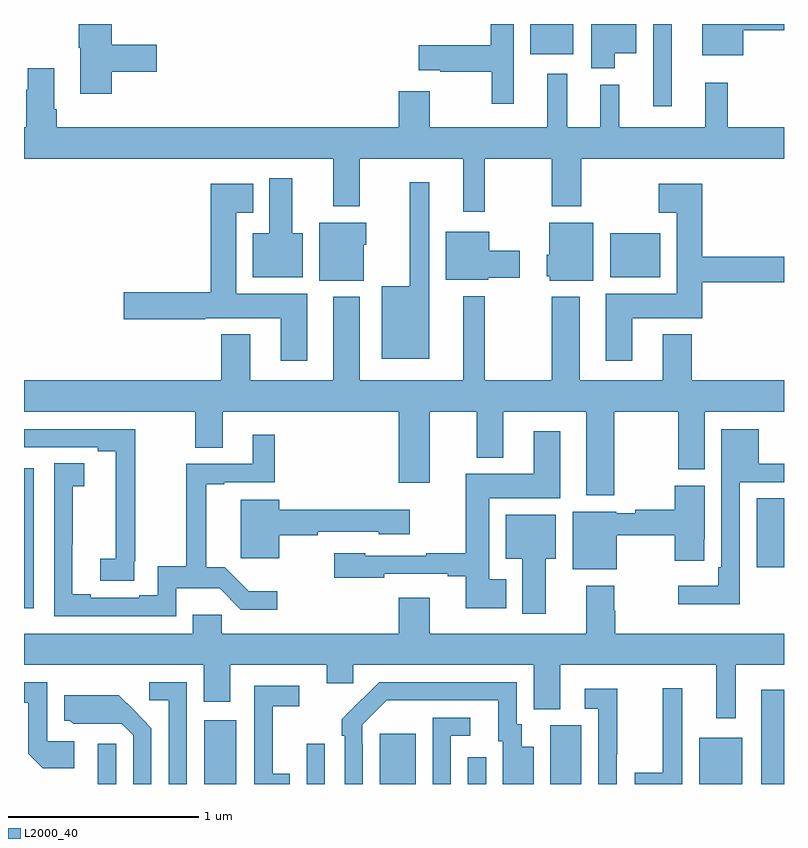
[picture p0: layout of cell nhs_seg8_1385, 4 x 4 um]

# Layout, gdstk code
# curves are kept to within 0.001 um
import gdstk
lib = gdstk.Library(unit=1e-6, precision=1e-09)
def R(c, l, rs):  # rectangles x0, y0, x1, y1
    for r in rs: c.add(gdstk.rectangle(r[:2], r[2:], *l))
def P(c, l, *ps):  # polygons
    for p in ps: c.add(gdstk.Polygon(p, *l))
L2000_40 = (2000, 40)

nhs_seg8_1385 = lib.new_cell('nhs_seg8_1385')
R(nhs_seg8_1385, L2000_40, [(199.389,1087.9,199.485,1088.113), (199.949,1087.9,200.116,1088.236), (200.487,1087.9,200.583,1088.113), (200.873,1087.9,201.061,1088.164), (201.336,1087.9,201.432,1088.041), (201.77,1087.9,201.934,1088.208), (202.553,1087.9,202.78,1088.143), (202.88,1087.9,203,1088.395), (199,1088.825,199.051,1089.562), (202.856,1089.042,203,1089.404), (202.085,1090.568,202.348,1090.798), (202.311,1091.466,202.408,1091.9), (201.665,1091.741,201.892,1091.9)])
P(nhs_seg8_1385, L2000_40, [(202.786,1091.867),(203,1091.867),(203,1091.9),(202.571,1091.9),(202.571,1091.735),(202.786,1091.735)],
  [(199.463,1091.65),(199.699,1091.65),(199.699,1091.792),(199.463,1091.792),(199.463,1091.9),(199.288,1091.9),(199.288,1091.775),(199.295,1091.775),(199.295,1091.532),(199.463,1091.532)],
  [(202.108,1091.747),(202.222,1091.747),(202.222,1091.9),(201.986,1091.9),(201.986,1091.666),(202.108,1091.666)],
  [(201.577,1091.9),(201.456,1091.9),(201.456,1091.787),(201.078,1091.787),(201.078,1091.657),(201.19,1091.657),(201.19,1091.65),(201.463,1091.65),(201.463,1091.481),(201.577,1091.481)],
  [(199.159,1091.452),(199.159,1091.668),(199.019,1091.668),(199.019,1091.555),(199.012,1091.555),(199.012,1091.356),(199,1091.356),(199,1091.192),(200.627,1091.192),(200.627,1090.94),(200.767,1090.94),(200.767,1091.192),(201.311,1091.192),(201.311,1090.911),(201.425,1090.911),(201.425,1091.192),(201.778,1091.192),(201.778,1090.94),(201.933,1090.94),(201.933,1091.192),(203,1091.192),(203,1091.356),(202.703,1091.356),(202.703,1091.59),(202.586,1091.59),(202.586,1091.356),(202.133,1091.356),(202.133,1091.581),(202.034,1091.581),(202.034,1091.356),(201.859,1091.356),(201.859,1091.638),(201.755,1091.638),(201.755,1091.356),(201.136,1091.356),(201.136,1091.545),(200.972,1091.545),(200.972,1091.356),(199.172,1091.356),(199.172,1091.452)],
  [(200.467,1090.798),(200.413,1090.798),(200.413,1091.089),(200.291,1091.089),(200.291,1090.798),(200.204,1090.798),(200.204,1090.568),(200.467,1090.568)],
  [(201.133,1091.068),(201.029,1091.068),(201.029,1090.519),(200.882,1090.519),(200.882,1090.139),(201.133,1090.139)],
  [(200.491,1090.48),(200.116,1090.48),(200.116,1090.907),(200.206,1090.907),(200.206,1091.059),(199.982,1091.059),(199.982,1090.487),(199.524,1090.487),(199.524,1090.345),(199.955,1090.345),(199.955,1090.352),(200.351,1090.352),(200.351,1090.128),(200.491,1090.128)],
  [(202.201,1090.352),(202.571,1090.352),(202.571,1090.54),(203,1090.54),(203,1090.676),(202.571,1090.676),(202.571,1091.059),(202.341,1091.059),(202.341,1090.907),(202.436,1090.907),(202.436,1090.48),(202.061,1090.48),(202.061,1090.128),(202.201,1090.128)],
  [(200.788,1090.737),(200.8,1090.737),(200.8,1090.855),(200.555,1090.855),(200.555,1090.55),(200.788,1090.55)],
  [(201.997,1090.855),(201.764,1090.855),(201.764,1090.686),(201.752,1090.686),(201.752,1090.572),(201.768,1090.572),(201.768,1090.55),(201.997,1090.55)],
  [(201.444,1090.565),(201.61,1090.565),(201.61,1090.707),(201.448,1090.707),(201.448,1090.807),(201.221,1090.807),(201.221,1090.553),(201.444,1090.553)],
  [(202.107,1089.86),(202.444,1089.86),(202.444,1089.556),(202.582,1089.556),(202.582,1089.86),(203,1089.86),(203,1090.024),(202.514,1090.024),(202.514,1090.267),(202.361,1090.267),(202.361,1090.024),(201.925,1090.024),(201.925,1090.465),(201.778,1090.465),(201.778,1090.024),(201.425,1090.024),(201.425,1090.468),(201.311,1090.468),(201.311,1090.024),(200.767,1090.024),(200.767,1090.465),(200.627,1090.465),(200.627,1090.024),(200.191,1090.024),(200.191,1090.267),(200.039,1090.267),(200.039,1090.024),(199,1090.024),(199,1089.86),(199.9,1089.86),(199.9,1089.67),(200.047,1089.67),(200.047,1089.86),(200.972,1089.86),(200.972,1089.486),(201.136,1089.486),(201.136,1089.86),(201.383,1089.86),(201.383,1089.617),(201.523,1089.617),(201.523,1089.86),(201.959,1089.86),(201.959,1089.419),(202.107,1089.419)],
  [(199.58,1089.073),(199.586,1089.073),(199.586,1089.768),(199,1089.768),(199,1089.672),(199.388,1089.672),(199.388,1089.652),(199.484,1089.652),(199.484,1089.369),(199.483,1089.369),(199.483,1089.086),(199.401,1089.086),(199.401,1088.971),(199.58,1088.971)],
  [(202.767,1089.489),(203,1089.489),(203,1089.585),(202.867,1089.585),(202.867,1089.766),(202.671,1089.766),(202.671,1089.04),(202.655,1089.04),(202.655,1088.944),(202.443,1088.944),(202.443,1088.846),(202.767,1088.846)],
  [(201.538,1088.977),(201.448,1088.977),(201.448,1089.404),(201.823,1089.404),(201.823,1089.757),(201.683,1089.757),(201.683,1089.532),(201.326,1089.532),(201.326,1089.115),(201.118,1089.115),(201.118,1089.102),(200.796,1089.102),(200.796,1089.115),(200.634,1089.115),(200.634,1088.986),(200.896,1088.986),(200.896,1089.006),(201.23,1089.006),(201.23,1088.994),(201.326,1088.994),(201.326,1088.825),(201.538,1088.825)],
  [(199.8,1088.93),(200.029,1088.93),(200.142,1088.817),(200.332,1088.817),(200.332,1088.914),(200.183,1088.914),(200.057,1089.04),(199.958,1089.04),(199.958,1089.477),(200.053,1089.477),(200.053,1089.489),(200.321,1089.489),(200.321,1089.739),(200.204,1089.739),(200.204,1089.585),(199.855,1089.585),(199.855,1089.047),(199.704,1089.047),(199.704,1088.894),(199.607,1088.894),(199.607,1088.88),(199.351,1088.88),(199.351,1088.9),(199.255,1088.9),(199.255,1089.163),(199.257,1089.163),(199.257,1089.467),(199.318,1089.467),(199.318,1089.587),(199.158,1089.587),(199.158,1088.784),(199.8,1088.784)],
  [(202.12,1089.208),(202.426,1089.208),(202.426,1089.075),(202.581,1089.075),(202.581,1089.187),(202.582,1089.187),(202.582,1089.471),(202.426,1089.471),(202.426,1089.344),(202.216,1089.344),(202.216,1089.324),(202.116,1089.324),(202.116,1089.334),(201.887,1089.334),(201.887,1089.029),(202.12,1089.029)],
  [(200.344,1089.208),(200.546,1089.208),(200.546,1089.228),(200.868,1089.228),(200.868,1089.215),(201.031,1089.215),(201.031,1089.344),(200.344,1089.344),(200.344,1089.397),(200.141,1089.397),(200.141,1089.087),(200.344,1089.087)],
  [(201.745,1089.086),(201.799,1089.086),(201.799,1089.316),(201.536,1089.316),(201.536,1089.086),(201.623,1089.086),(201.623,1088.796),(201.745,1088.796)],
  [(202.747,1088.528),(203,1088.528),(203,1088.692),(202.112,1088.692),(202.112,1088.813),(202.107,1088.813),(202.107,1088.944),(201.959,1088.944),(201.959,1088.692),(201.136,1088.692),(201.136,1088.881),(200.972,1088.881),(200.972,1088.692),(200.041,1088.692),(200.041,1088.79),(199.889,1088.79),(199.889,1088.692),(199,1088.692),(199,1088.528),(199.946,1088.528),(199.946,1088.334),(200.086,1088.334),(200.086,1088.528),(200.594,1088.528),(200.594,1088.43),(200.733,1088.43),(200.733,1088.528),(201.683,1088.528),(201.683,1088.293),(201.823,1088.293),(201.823,1088.528),(202.643,1088.528),(202.643,1088.247),(202.747,1088.247)],
  [(200.784,1088.111),(200.781,1088.111),(200.781,1088.211),(200.91,1088.34),(201.497,1088.34),(201.497,1088.124),(201.521,1088.124),(201.521,1087.9),(201.682,1087.9),(201.682,1088.095),(201.619,1088.095),(201.619,1088.214),(201.594,1088.214),(201.594,1088.436),(200.87,1088.436),(200.673,1088.241),(200.673,1088.153),(200.688,1088.153),(200.688,1087.9),(200.784,1087.9)],
  [(199.857,1088.436),(199.659,1088.436),(199.659,1088.34),(199.761,1088.34),(199.761,1087.9),(199.857,1087.9)],
  [(199.264,1088.124),(199.122,1088.124),(199.122,1088.436),(199,1088.436),(199,1088.328),(199.023,1088.328),(199.023,1088.06),(199.099,1087.984),(199.264,1087.984)],
  [(200.398,1087.954),(200.309,1087.954),(200.309,1088.31),(200.449,1088.31),(200.449,1088.418),(200.211,1088.418),(200.211,1087.9),(200.398,1087.9)],
  [(202.465,1088.404),(202.361,1088.404),(202.361,1087.96),(202.214,1087.96),(202.214,1087.9),(202.465,1087.9)],
  [(202.119,1088.056),(202.122,1088.056),(202.122,1088.401),(201.951,1088.401),(201.951,1088.295),(202.023,1088.295),(202.023,1087.9),(202.119,1087.9)],
  [(199.671,1088.194),(199.499,1088.368),(199.211,1088.368),(199.211,1088.232),(199.242,1088.232),(199.258,1088.216),(199.515,1088.217),(199.575,1088.157),(199.575,1087.9),(199.671,1087.9)],
  [(201.246,1088.154),(201.349,1088.154),(201.349,1088.25),(201.15,1088.25),(201.15,1087.9),(201.246,1087.9)])

lib.write_gds('nhs_seg8_1385.gds')
